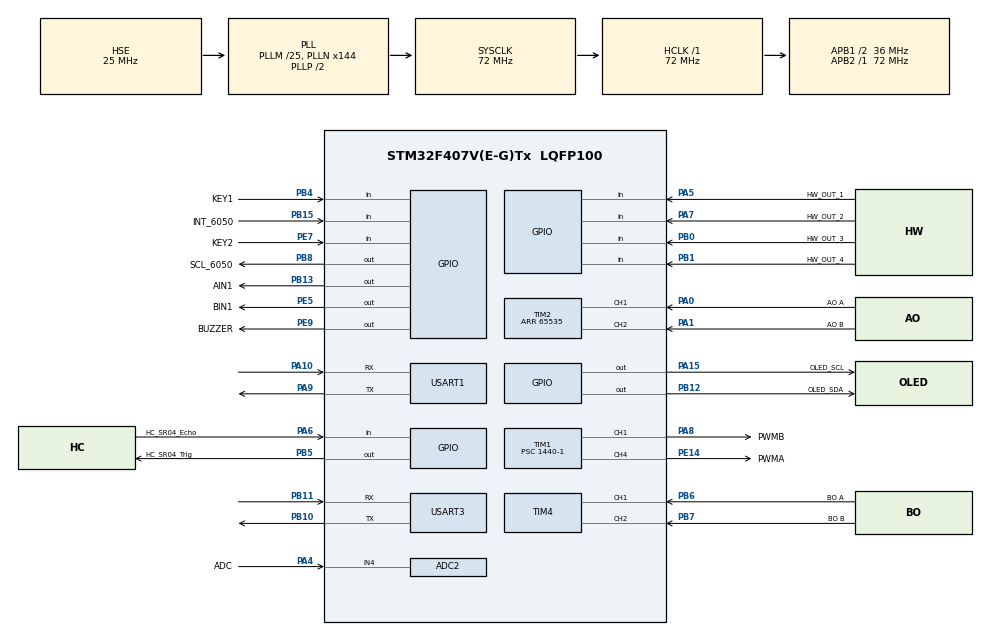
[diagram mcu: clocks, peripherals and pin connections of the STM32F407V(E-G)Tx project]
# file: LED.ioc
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ADC2.Channel-1\#ChannelRegularConversion=ADC_CHANNEL_4
ADC2.NbrOfConversionFlag=1
ADC2.Rank-1\#ChannelRegularConversion=1
ADC2.SamplingTime-1\#ChannelRegularConversion=ADC_SAMPLETIME_3CYCLES
Mcu.Family=STM32F4
Mcu.Name=STM32F407V(E-G)Tx
Mcu.Package=LQFP100
NVIC.PriorityGroup=NVIC_PRIORITYGROUP_4
NVIC.TIM1_UP_TIM10_IRQn=true\:0\:0\:false\:false\:true\:true\:true\:true
NVIC.TIM2_IRQn=true\:0\:0\:false\:false\:true\:true\:true\:true
NVIC.TIM4_IRQn=true\:0\:0\:false\:false\:true\:true\:true\:true
NVIC.USART3_IRQn=true\:0\:0\:false\:false\:true\:true\:true\:true
PA0-WKUP.GPIO_Label=AO A
PA0-WKUP.GPIO_PuPd=GPIO_PULLUP
PA0-WKUP.Signal=S_TIM2_CH1_ETR
PA1.GPIO_Label=AO B
PA1.GPIO_PuPd=GPIO_PULLUP
PA1.Signal=S_TIM2_CH2
PA10.Mode=Asynchronous
PA10.Signal=USART1_RX
PA13.Mode=Serial_Wire
PA13.Signal=SYS_JTMS-SWDIO
PA14.Mode=Serial_Wire
PA14.Signal=SYS_JTCK-SWCLK
PA15.GPIO_Label=OLED_SCL
PA15.GPIO_PuPd=GPIO_PULLUP
PA15.PinState=GPIO_PIN_SET
PA15.Signal=GPIO_Output
PA2.Signal=USART2_TX
PA4.GPIO_Label=ADC
PA4.Signal=ADCx_IN4
PA5.GPIO_Label=HW_OUT_1
PA5.Signal=GPIO_Input
PA6.GPIO_Label=HC_SR04_Echo
PA6.Signal=GPIO_Input
PA7.GPIO_Label=HW_OUT_2
PA7.Signal=GPIO_Input
PA8.GPIO_Label=PWMB
PA8.Signal=S_TIM1_CH1
PA9.Mode=Asynchronous
PA9.Signal=USART1_TX
PB0.GPIO_Label=HW_OUT_3
PB0.Signal=GPIO_Input
PB1.GPIO_Label=HW_OUT_4
PB1.Signal=GPIO_Input
PB10.Mode=Asynchronous
PB10.Signal=USART3_TX
PB11.Mode=Asynchronous
PB11.Signal=USART3_RX
PB12.GPIO_Label=OLED_SDA
PB12.GPIO_PuPd=GPIO_PULLUP
PB12.GPIO_Speed=GPIO_SPEED_FREQ_HIGH
PB12.Signal=GPIO_Output
PB13.GPIO_Label=AIN1
PB13.Signal=GPIO_Output
PB15.GPIO_Label=INT_6050
PB15.GPIO_PuPd=GPIO_PULLUP
PB15.Signal=GPIO_Input
PB4.GPIO_Label=KEY1
PB4.Signal=GPIO_Input
PB5.GPIO_Label=HC_SR04_Trig
PB5.Signal=GPIO_Output
PB6.GPIO_Label=BO A
PB6.GPIO_PuPd=GPIO_PULLUP
PB6.Signal=S_TIM4_CH1
PB7.GPIO_Label=BO B
PB7.GPIO_PuPd=GPIO_PULLUP
PB7.Signal=S_TIM4_CH2
PB8.GPIO_Label=SCL_6050
PB8.PinState=GPIO_PIN_SET
PB8.Signal=GPIO_Output
PE14.GPIO_Label=PWMA
PE14.Signal=S_TIM1_CH4
PE5.GPIO_Label=BIN1
PE5.Signal=GPIO_Output
PE7.GPIO_Label=KEY2
PE7.Signal=GPIO_Input
PE9.GPIO_Label=BUZZER
PE9.Signal=GPIO_Output
PH0-OSC_IN.Mode=HSE-External-Oscillator
PH0-OSC_IN.Signal=RCC_OSC_IN
PH1-OSC_OUT.Mode=HSE-External-Oscillator
PH1-OSC_OUT.Signal=RCC_OSC_OUT
ProjectManager.HeapSize=0x800
ProjectManager.StackSize=0x800
ProjectManager.TargetToolchain=MDK-ARM V5.32
RCC.48MHZClocksFreq_Value=36000000
RCC.AHBFreq_Value=72000000
RCC.APB1CLKDivider=RCC_HCLK_DIV2
RCC.APB1Freq_Value=36000000
RCC.APB1TimFreq_Value=72000000
RCC.APB2Freq_Value=72000000
RCC.APB2TimFreq_Value=72000000
RCC.CortexFreq_Value=72000000
RCC.HCLKFreq_Value=72000000
RCC.HSE_VALUE=25000000
RCC.HSI_VALUE=16000000
RCC.LSE_VALUE=32768
RCC.PLLM=25
RCC.PLLN=144
RCC.PLLSourceVirtual=RCC_PLLSOURCE_HSE
RCC.SYSCLKFreq_VALUE=72000000
RCC.SYSCLKSource=RCC_SYSCLKSOURCE_PLLCLK
RCC.VCOOutputFreq_Value=144000000
SH.ADCx_IN4.0=ADC2_IN4,IN4
SH.S_TIM1_CH1.0=TIM1_CH1,PWM Generation1 CH1
SH.S_TIM1_CH4.0=TIM1_CH4,PWM Generation4 CH4
SH.S_TIM2_CH1_ETR.0=TIM2_CH1,Encoder_Interface
SH.S_TIM2_CH2.0=TIM2_CH2,Encoder_Interface
SH.S_TIM4_CH1.0=TIM4_CH1,Encoder_Interface
SH.S_TIM4_CH2.0=TIM4_CH2,Encoder_Interface
TIM1.AutoReloadPreload=TIM_AUTORELOAD_PRELOAD_ENABLE
TIM1.Channel-PWM\ Generation1\ CH1=TIM_CHANNEL_1
TIM1.Channel-PWM\ Generation4\ CH4=TIM_CHANNEL_4
TIM1.Period=100-1
TIM1.Prescaler=1440-1
TIM1.Pulse-PWM\ Generation1\ CH1=50
TIM1.Pulse-PWM\ Generation4\ CH4=50
TIM2.EncoderMode=TIM_ENCODERMODE_TI12
TIM2.IC1Filter=6
TIM2.IC2Filter=6
TIM2.Period=65535
TIM4.EncoderMode=TIM_ENCODERMODE_TI12
TIM4.IC1Filter=6
TIM4.IC2Filter=6
USART1.VirtualMode=VM_ASYNC
USART3.VirtualMode=VM_ASYNC
VP_TIM1_VS_ClockSourceINT.Mode=Internal
board=custom

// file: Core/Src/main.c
/* USER CODE BEGIN Header */
/**
  ******************************************************************************
  * @file           : main.c
  * @brief          : Main program body
  ******************************************************************************
  * @attention
  *
  * Copyright (c) 2026 STMicroelectronics.
  * All rights reserved.
  *
  * This software is licensed under terms that can be found in the LICENSE file
  * in the root directory of this software component.
  * If no LICENSE file comes with this software, it is provided AS-IS.
  *
  ******************************************************************************
  */
/* USER CODE END Header */
#include "main.h"
#include "adc.h"
#include "tim.h"
#include "usart.h"
#include "gpio.h"

/* USER CODE BEGIN Includes */
#include "oled.h"
#include "stdio.h"
#include "motor.h"
#include "pid.h"
#include "HC_SR04.h"
/* USER CODE END Includes */

/* USER CODE BEGIN PM */
extern float Motor1Speed;
extern float Motor2Speed;

extern tPid pidMotor1Speed;
extern tPid pidMotor2Speed;

extern tPid pidFollow;      // 声明外部定义的 pidFollow 变量
uint8_t OledString[20];

extern float Mileage;

extern short Encode1Count;
extern short Encode2Count;

/* USER CODE END PM */

/* USER CODE BEGIN PV */
float distance = 0.0f;        // 用于存储超声波距离数据
uint8_t hc_delay_cnt = 0;     // 用于超声波测量周期的计数器
float follow_pid_out = 0.0f;  // 用于存储跟随PID的输出速度
/* USER CODE END PV */

void SystemClock_Config(void);

int main(void)
{

  /* MCU Configuration--------------------------------------------------------*/

  /* Reset of all peripherals, Initializes the Flash interface and the Systick. */
  HAL_Init();

  /* Configure the system clock */
  SystemClock_Config();

  /* Initialize all configured peripherals */
  MX_GPIO_Init();
  MX_TIM1_Init();
  MX_TIM2_Init();
  MX_TIM4_Init();
  MX_ADC2_Init();
  MX_USART3_UART_Init();
  MX_USART1_UART_Init();
  /* USER CODE BEGIN 2 */
    OLED_Init();
    OLED_Clear();

    HAL_TIM_PWM_Start(&htim1, TIM_CHANNEL_1);
    HAL_TIM_PWM_Start(&htim1, TIM_CHANNEL_4);

    HAL_TIM_Encoder_Start(&htim2, TIM_CHANNEL_ALL);
    HAL_TIM_Encoder_Start(&htim4, TIM_CHANNEL_ALL);
    HAL_TIM_Base_Start_IT(&htim2);
    HAL_TIM_Base_Start_IT(&htim4);

    HAL_TIM_Base_Start_IT(&htim1);
  /* USER CODE END 2 */
   PID_init();
  /* Infinite loop */
  while (1)
  {

    /* USER CODE BEGIN 3 */

    HAL_Delay(10);

    // 超声波读取逻辑：保持30ms的高刷新率 (3 * 10ms)
    hc_delay_cnt++;
    if(hc_delay_cnt >= 3)
    {
        distance = HC_SR04_Read();
        hc_delay_cnt = 0; // 重置计数器
    }

    // ********** PID直线跟随功能 ***********
    // 修改范围：当距离在 20cm 到 50cm 之间时启动跟随
    if(distance >= 20.0f && distance <= 50.0f)
    {
        follow_pid_out = PID_realize(&pidFollow, distance); // PID计算输出

        // 对输出速度限幅
        if(follow_pid_out > 1.0f) follow_pid_out = 1.0f;
        if(follow_pid_out < -1.0f) follow_pid_out = -1.0f;

        motorPidSetSpeed(follow_pid_out, follow_pid_out); // 速度作用于电机上
    }
    else
    {
        // 1. 越界直接调用最底层函数，强制PWM为0，瞬间物理刹车！
        Motor_Set(0, 0);

        // 2. 清除所有PID控制器的积分残留（历史记忆），防止复位时继续蠕动
        pidMotor1Speed.err_sum = 0;
        pidMotor2Speed.err_sum = 0;
        pidFollow.err_sum = 0;

        // 3. 将当前误差也强行归零
        pidMotor1Speed.err = 0;
        pidMotor2Speed.err = 0;
        pidFollow.err = 0;
    }

    // OLED 显示刷新
    sprintf((char*)OledString, "V1:%.2f V2:%.2f", Motor1Speed, Motor2Speed);
    OLED_ShowString(0,0,OledString,12);

    sprintf((char*)OledString, "Mileage:%.2f", Mileage);
    OLED_ShowString(0,1,OledString,12);

    sprintf((char*)OledString, "PID:%.0f %.0f", pid_out1, pid_out2);
    OLED_ShowString(0,2,OledString,12);

    sprintf((char*)OledString, "E1:%d  E2:%d", Encode1Count, Encode2Count);
    OLED_ShowString(0,3,OledString,12);

    sprintf((char*)OledString, "Dist:%.2f cm    ", distance);
    OLED_ShowString(0,4,OledString,12);

  }
  /* USER CODE END 3 */
}

void SystemClock_Config(void)
{
  RCC_OscInitTypeDef RCC_OscInitStruct = {0};
  RCC_ClkInitTypeDef RCC_ClkInitStruct = {0};

  __HAL_RCC_PWR_CLK_ENABLE();
  __HAL_PWR_VOLTAGESCALING_CONFIG(PWR_REGULATOR_VOLTAGE_SCALE1);

  RCC_OscInitStruct.OscillatorType = RCC_OSCILLATORTYPE_HSE;
  RCC_OscInitStruct.HSEState = RCC_HSE_ON;
  RCC_OscInitStruct.PLL.PLLState = RCC_PLL_ON;
  RCC_OscInitStruct.PLL.PLLSource = RCC_PLLSOURCE_HSE;
  RCC_OscInitStruct.PLL.PLLM = 25;
  RCC_OscInitStruct.PLL.PLLN = 144;
  RCC_OscInitStruct.PLL.PLLP = RCC_PLLP_DIV2;
  RCC_OscInitStruct.PLL.PLLQ = 4;
  if (HAL_RCC_OscConfig(&RCC_OscInitStruct) != HAL_OK)
  {
    Error_Handler();
  }

  RCC_ClkInitStruct.ClockType = RCC_CLOCKTYPE_HCLK|RCC_CLOCKTYPE_SYSCLK
                              |RCC_CLOCKTYPE_PCLK1|RCC_CLOCKTYPE_PCLK2;
  RCC_ClkInitStruct.SYSCLKSource = RCC_SYSCLKSOURCE_PLLCLK;
  RCC_ClkInitStruct.AHBCLKDivider = RCC_SYSCLK_DIV1;
  RCC_ClkInitStruct.APB1CLKDivider = RCC_HCLK_DIV2;
  RCC_ClkInitStruct.APB2CLKDivider = RCC_HCLK_DIV1;

  if (HAL_RCC_ClockConfig(&RCC_ClkInitStruct, FLASH_LATENCY_2) != HAL_OK)
  {
    Error_Handler();
  }
}

void Error_Handler(void)
{
  __disable_irq();
  while (1)
  {
  }
}
